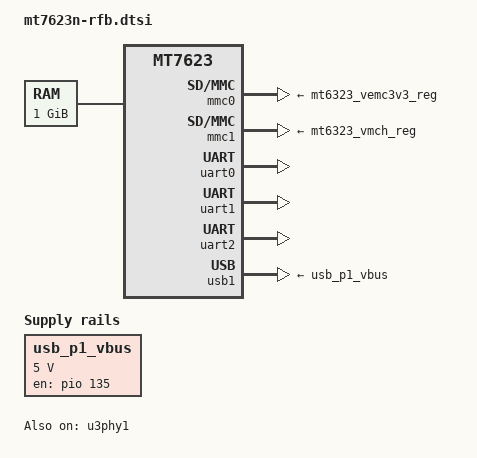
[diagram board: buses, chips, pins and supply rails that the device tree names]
// SPDX-License-Identifier: GPL-2.0
/*
 * Copyright (c) 2017 MediaTek Inc.
 * Author: John Crispin <john@phrozen.org>
 *	   Sean Wang <sean.wang@mediatek.com>
 *
 */

/dts-v1/;
#include "mt7623.dtsi"
#include "mt6323.dtsi"

/ {
	aliases {
		serial0 = &uart0;
		serial1 = &uart1;
		serial2 = &uart2;
	};

	chosen {
		stdout-path = "serial2:115200n8";
	};

	cpus {
		cpu0 {
			proc-supply = <&mt6323_vproc_reg>;
		};

		cpu1 {
			proc-supply = <&mt6323_vproc_reg>;
		};

		cpu2 {
			proc-supply = <&mt6323_vproc_reg>;
		};

		cpu3 {
			proc-supply = <&mt6323_vproc_reg>;
		};
	};

	memory@80000000 {
		device_type = "memory";
		reg = <0 0x80000000 0 0x40000000>;
	};

	usb_p1_vbus: regulator-5v {
		compatible = "regulator-fixed";
		regulator-name = "usb_vbus";
		regulator-min-microvolt = <5000000>;
		regulator-max-microvolt = <5000000>;
		gpio = <&pio 135 GPIO_ACTIVE_HIGH>;
		enable-active-high;
	};
};

&mmc0 {
	vmmc-supply = <&mt6323_vemc3v3_reg>;
	vqmmc-supply = <&mt6323_vio18_reg>;
};

&mmc1 {
	vmmc-supply = <&mt6323_vmch_reg>;
	vqmmc-supply = <&mt6323_vmc_reg>;
};

&uart0 {
	status = "okay";
};

&uart1 {
	status = "okay";
};

&uart2 {
	status = "okay";
};

&usb1 {
	vbus-supply = <&usb_p1_vbus>;
	status = "okay";
};

&u3phy1 {
	status = "okay";
};
